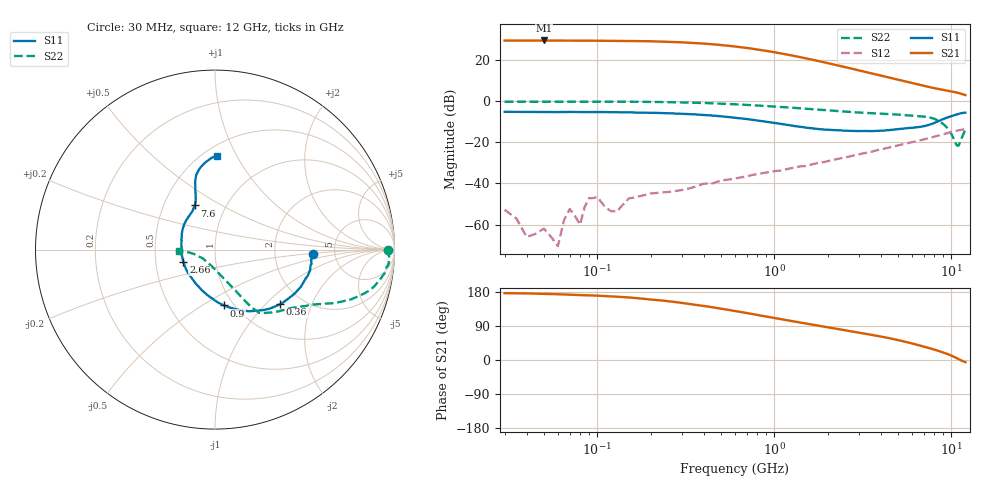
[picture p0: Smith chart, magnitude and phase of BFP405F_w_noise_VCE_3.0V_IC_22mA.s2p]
! Infineon Technologies  Discrete & RF Semiconductors
! BFP405F
! VCE =  3.0 V,  IC =  22 mA
! Common Emitter S-Parameters:  Nov 2015
# GHz  S  MA  R  50
!  f  S11  S21  S12  S22
! GHz  MAG  ANG  MAG  ANG  MAG  ANG  MAG  ANG
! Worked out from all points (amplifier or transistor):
!   239 points, 30 MHz to 12 GHz, reference 50 ohm
!   highest |S21| = 29.4 dB at 50 MHz (marker M1)
!   |S21| within 3 dB of that: start of sweep to 609.4 MHz
!   unconditionally stable (mu >= 1): 36.42 MHz to 62.72 MHz; 1.592 GHz to end of sweep
!   at 300 MHz: K = 0.39, MSG = 35.9 dB, |S12| = -43.2 dB
!   at 1.88 GHz: K = 1.09, MAG = 22.5 dB, |S12| = -29.7 dB
!   at 12 GHz: K = 1.38, MAG = 4.6 dB, |S12| = -13.7 dB
!   lowest NFmin = 2.34 dB at 450 MHz
!   S11 on the Smith chart (normalised r, x): 30 MHz: 3.40, -0.26; 360 MHz: 1.56, -1.22; 900 MHz: 0.90, -0.62; 2.66 GHz: 0.70, -0.10; 7.6 GHz: 0.71, +0.38; 12 GHz: 0.58, +0.84
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0.03  0.5474 -2.8  29.34 176.4  0.0023 66.3  0.9651 0.0
0.04  0.5429 -4.4  29.38 175.7  0.0005 37.7  0.9659 -0.6
0.05  0.5379 -6.4  29.56 174.3  0.0008 13.6  0.9659 -1.6
0.06  0.5402 -6.7  29.32 173.6  0.0003 36.2  0.9672 -1.5
0.07  0.5439 -8.5  29.28 172.2  0.0024 91.7  0.9709 -2.2
0.08  0.5394 -9.1  29.12 171.3  0.001 58.8  0.9715 -2.3
0.085  0.5401 -9.9  29.16 171.0  0.0027 71.2  0.9697 -2.7
0.15  0.53 -17.8  28.76 165.1  0.0043 113.0  0.9619 -5.6
0.2  0.5212 -23.5  28.28 159.7  0.0057 93.6  0.9553 -7.7
0.24  0.5096 -27.8  27.55 156.2  0.0061 90.9  0.944 -9.1
0.36  0.4732 -40.0  25.5 145.8  0.0084 77.5  0.9094 -13.1
0.45  0.4445 -48.2  23.86 138.9  0.0101 77.4  0.8807 -15.4
0.6  0.3941 -60.7  21.09 129.1  0.0131 74.1  0.8339 -18.4
0.7  0.3654 -67.7  19.46 123.8  0.015 71.1  0.8065 -20.1
0.9  0.315 -80.8  16.55 114.6  0.0184 70.7  0.7575 -22.6
1.2  0.2612 -98.0  13.27 104.3  0.0228 71.5  0.6993 -25.4
1.64  0.2177 -119.4  10.09 93.5  0.0292 72.4  0.6366 -28.7
2.66  0.1894 -158.0  6.276 76.7  0.0453 70.4  0.5451 -36.4
4.5  0.1981 160.2  3.648 57.2  0.0751 64.4  0.4816 -46.3
7.6  0.2705 114.7  2.159 30.6  0.1284 51.4  0.3943 -56.9
10.8  0.4769 98.1  1.597 4.2  0.1923 32.8  0.0824 -122.8
12  0.523 88.7  1.394 -5.8  0.2077 25.6  0.2001 -177.6
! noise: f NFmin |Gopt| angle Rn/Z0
0.45  2.34  0.01  -136  0.48
0.9  2.36  0.03  -135  0.34
1.5  2.42  0.05  -131  0.37
1.9  2.49  0.07  -128  0.44
2.4  2.64  0.08  -126  0.18
3  2.75  0.1  -123  0.2
3.5  2.84  0.11  -120  0.29
4.5  3.11  0.16  -106  0.54
5.5  3.47  0.29  -88  0.55
